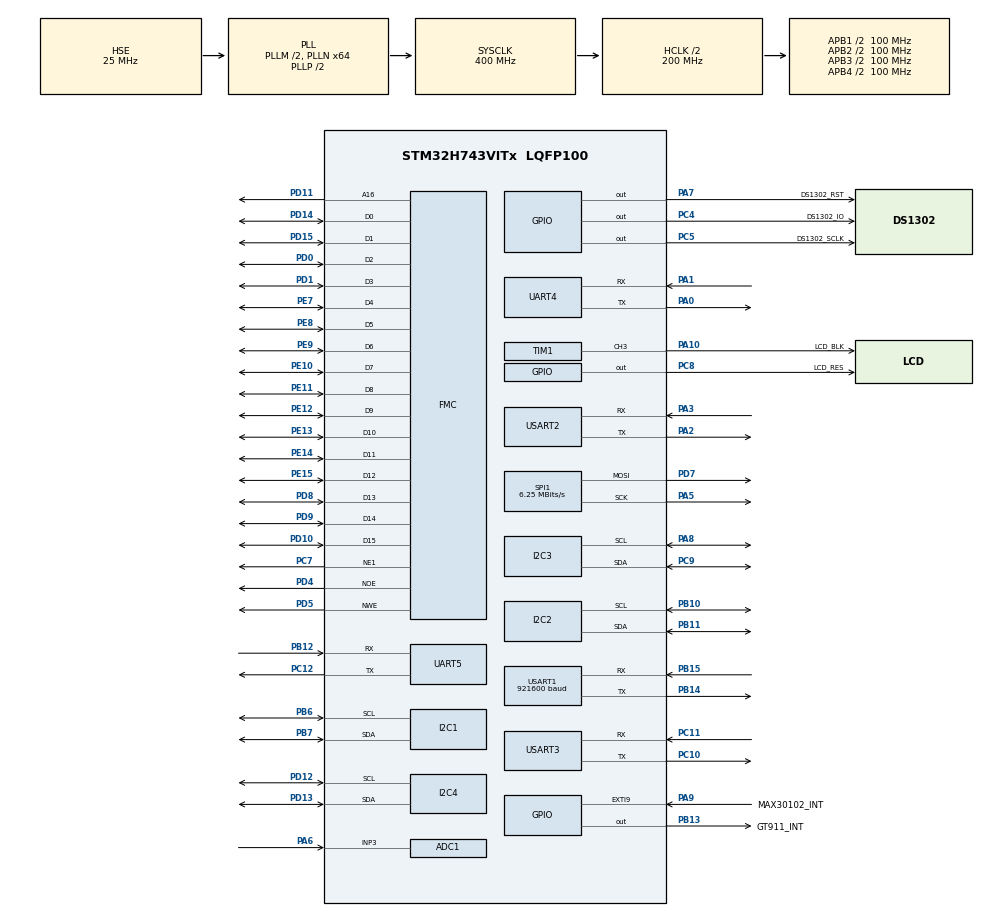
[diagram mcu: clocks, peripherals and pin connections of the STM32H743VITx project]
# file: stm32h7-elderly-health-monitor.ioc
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ADC1.Channel-0\#ChannelRegularConversion=ADC_CHANNEL_3
ADC1.ExternalTrigConv=ADC_EXTERNALTRIG_T2_TRGO
ADC1.NbrOfConversionFlag=1
ADC1.OffsetNumber-0\#ChannelRegularConversion=ADC_OFFSET_NONE
ADC1.OffsetSignedSaturation-0\#ChannelRegularConversion=DISABLE
ADC1.Rank-0\#ChannelRegularConversion=1
ADC1.SamplingTime-0\#ChannelRegularConversion=ADC_SAMPLETIME_1CYCLE_5
ADC1.master=1
CORTEX_M7.AccessPermission_Spec=MPU_REGION_FULL_ACCESS
CORTEX_M7.BaseAddress_Spec=0x60000000
CORTEX_M7.CPU_DCache=Enabled
CORTEX_M7.CPU_ICache=Enabled
CORTEX_M7.DisableExec_Spec=MPU_INSTRUCTION_ACCESS_ENABLE
CORTEX_M7.IsBufferable_Spec=MPU_ACCESS_BUFFERABLE
CORTEX_M7.IsCacheable_Spec=MPU_ACCESS_NOT_CACHEABLE
CORTEX_M7.IsShareable_Spec=MPU_ACCESS_NOT_SHAREABLE
CORTEX_M7.Size_Spec=MPU_REGION_SIZE_256MB
CORTEX_M7.SubRegionDisable_Spec=0x0
CORTEX_M7.TypeExtField_Spec=MPU_TEX_LEVEL0
CORTEX_M7.default_mode_Activation=1
Dma.Request0=SPI1_TX
Dma.SPI1_TX.0.Direction=DMA_MEMORY_TO_PERIPH
Dma.SPI1_TX.0.EventEnable=DISABLE
Dma.SPI1_TX.0.FIFOMode=DMA_FIFOMODE_DISABLE
Dma.SPI1_TX.0.Instance=DMA1_Stream0
Dma.SPI1_TX.0.MemDataAlignment=DMA_MDATAALIGN_BYTE
Dma.SPI1_TX.0.MemInc=DMA_MINC_ENABLE
Dma.SPI1_TX.0.Mode=DMA_NORMAL
Dma.SPI1_TX.0.PeriphDataAlignment=DMA_PDATAALIGN_BYTE
Dma.SPI1_TX.0.PeriphInc=DMA_PINC_DISABLE
Dma.SPI1_TX.0.Polarity=HAL_DMAMUX_REQ_GEN_RISING
Dma.SPI1_TX.0.Priority=DMA_PRIORITY_LOW
Dma.SPI1_TX.0.RequestNumber=1
Dma.SPI1_TX.0.SignalID=NONE
Dma.SPI1_TX.0.SyncEnable=DISABLE
Dma.SPI1_TX.0.SyncPolarity=HAL_DMAMUX_SYNC_NO_EVENT
Dma.SPI1_TX.0.SyncRequestNumber=1
Dma.SPI1_TX.0.SyncSignalID=NONE
FMC.AddressSetupTime1=10
FMC.BusTurnAroundDuration1=5
FMC.DataSetupTime1=15
FMC.ExtendedAddressSetupTime1=2
FMC.ExtendedBusTurnAroundDuration1=0
FMC.ExtendedDataSetupTime1=10
FMC.ExtendedMode1=FMC_EXTENDED_MODE_ENABLE
I2C1.Timing=0x10C0ECFF
I2C2.Timing=0x10C0ECFF
I2C3.Timing=0x10C0ECFF
I2C4.Timing=0x10C0ECFF
Mcu.Family=STM32H7
Mcu.Name=STM32H743VITx
Mcu.Package=LQFP100
NVIC.ADC_IRQn=true\:6\:0\:true\:false\:true\:true\:true\:true
NVIC.DMA1_Stream0_IRQn=true\:0\:0\:false\:false\:true\:false\:true\:true
NVIC.EXTI9_5_IRQn=true\:6\:0\:true\:false\:true\:true\:true\:true
NVIC.PriorityGroup=NVIC_PRIORITYGROUP_4
NVIC.SPI1_IRQn=true\:0\:0\:false\:false\:true\:true\:true\:true
NVIC.TIM2_IRQn=true\:0\:0\:false\:false\:true\:true\:true\:true
NVIC.TIM6_DAC_IRQn=true\:15\:0\:true\:false\:true\:false\:true\:true
NVIC.TIM7_IRQn=true\:0\:0\:true\:false\:true\:true\:true\:true
NVIC.TimeBase=TIM6_DAC_IRQn
NVIC.TimeBaseIP=TIM6
NVIC.UART4_IRQn=true\:6\:0\:true\:false\:true\:true\:true\:true
NVIC.UART5_IRQn=true\:6\:0\:true\:false\:true\:true\:true\:true
NVIC.USART1_IRQn=true\:6\:0\:true\:false\:true\:true\:true\:true
NVIC.USART2_IRQn=true\:0\:0\:false\:false\:true\:true\:true\:true
PA0.Mode=Asynchronous
PA0.Signal=UART4_TX
PA1.Mode=Asynchronous
PA1.Signal=UART4_RX
PA10.GPIO_Label=LCD_BLK
PA10.Signal=S_TIM1_CH3
PA13\ (JTMS/SWDIO).Mode=Serial_Wire
PA13\ (JTMS/SWDIO).Signal=DEBUG_JTMS-SWDIO
PA14\ (JTCK/SWCLK).Mode=Serial_Wire
PA14\ (JTCK/SWCLK).Signal=DEBUG_JTCK-SWCLK
PA2.Mode=Asynchronous
PA2.Signal=USART2_TX
PA3.Mode=Asynchronous
PA3.Signal=USART2_RX
PA5.Mode=TX_Only_Simplex_Unidirect_Master
PA5.Signal=SPI1_SCK
PA6.Signal=ADCx_INP3
PA7.GPIO_Label=DS1302_RST
PA7.GPIO_Speed=GPIO_SPEED_FREQ_VERY_HIGH
PA7.PinState=GPIO_PIN_SET
PA7.Signal=GPIO_Output
PA8.Mode=I2C
PA8.Signal=I2C3_SCL
PA9.GPIO_Label=MAX30102_INT
PA9.GPIO_ModeDefaultEXTI=GPIO_MODE_IT_FALLING
PA9.GPIO_PuPd=GPIO_PULLUP
PA9.Signal=GPXTI9
PB10.Mode=I2C
PB10.Signal=I2C2_SCL
PB11.Mode=I2C
PB11.Signal=I2C2_SDA
PB12.Mode=Asynchronous
PB12.Signal=UART5_RX
PB13.GPIO_Label=GT911_INT
PB13.GPIO_PuPd=GPIO_PULLUP
PB13.GPIO_Speed=GPIO_SPEED_FREQ_VERY_HIGH
PB13.PinState=GPIO_PIN_SET
PB13.Signal=GPIO_Output
PB14.GPIO_Speed=GPIO_SPEED_FREQ_VERY_HIGH
PB14.Mode=Asynchronous
PB14.Signal=USART1_TX
PB15.GPIO_Speed=GPIO_SPEED_FREQ_VERY_HIGH
PB15.Mode=Asynchronous
PB15.Signal=USART1_RX
PB6.GPIO_Speed=GPIO_SPEED_FREQ_VERY_HIGH
PB6.Mode=I2C
PB6.Signal=I2C1_SCL
PB7.GPIO_Speed=GPIO_SPEED_FREQ_VERY_HIGH
PB7.Mode=I2C
PB7.Signal=I2C1_SDA
PC10.Mode=Asynchronous
PC10.Signal=USART3_TX
PC11.Mode=Asynchronous
PC11.Signal=USART3_RX
PC12.Mode=Asynchronous
PC12.Signal=UART5_TX
PC14-OSC32_IN\ (OSC32_IN).Mode=LSE-External-Oscillator
PC14-OSC32_IN\ (OSC32_IN).Signal=RCC_OSC32_IN
PC15-OSC32_OUT\ (OSC32_OUT).Mode=LSE-External-Oscillator
PC15-OSC32_OUT\ (OSC32_OUT).Signal=RCC_OSC32_OUT
PC4.GPIO_Label=DS1302_IO
PC4.GPIO_Speed=GPIO_SPEED_FREQ_VERY_HIGH
PC4.PinState=GPIO_PIN_SET
PC4.Signal=GPIO_Output
PC5.GPIO_Label=DS1302_SCLK
PC5.GPIO_Speed=GPIO_SPEED_FREQ_VERY_HIGH
PC5.PinState=GPIO_PIN_SET
PC5.Signal=GPIO_Output
PC7.GPIO_Speed_High_Default=GPIO_SPEED_FREQ_VERY_HIGH
PC7.Mode=NorPsramChipSelect1_1
PC7.Signal=FMC_NE1
PC8.GPIO_Label=LCD_RES
PC8.GPIO_PuPd=GPIO_PULLUP
PC8.GPIO_Speed=GPIO_SPEED_FREQ_VERY_HIGH
PC8.PinState=GPIO_PIN_SET
PC8.Signal=GPIO_Output
PC9.Mode=I2C
PC9.Signal=I2C3_SDA
PD0.GPIO_Speed_High_Default=GPIO_SPEED_FREQ_VERY_HIGH
PD0.Signal=FMC_D2_DA2
PD1.GPIO_Speed_High_Default=GPIO_SPEED_FREQ_VERY_HIGH
PD1.Signal=FMC_D3_DA3
PD10.GPIO_Speed_High_Default=GPIO_SPEED_FREQ_VERY_HIGH
PD10.Signal=FMC_D15_DA15
PD11.GPIO_Speed_High_Default=GPIO_SPEED_FREQ_VERY_HIGH
PD11.Signal=FMC_A16_CLE
PD12.Mode=I2C
PD12.Signal=I2C4_SCL
PD13.Mode=I2C
PD13.Signal=I2C4_SDA
PD14.GPIO_Speed_High_Default=GPIO_SPEED_FREQ_VERY_HIGH
PD14.Signal=FMC_D0_DA0
PD15.GPIO_Speed_High_Default=GPIO_SPEED_FREQ_VERY_HIGH
PD15.Signal=FMC_D1_DA1
PD4.GPIO_Speed_High_Default=GPIO_SPEED_FREQ_VERY_HIGH
PD4.Signal=FMC_NOE
PD5.GPIO_Speed_High_Default=GPIO_SPEED_FREQ_VERY_HIGH
PD5.Signal=FMC_NWE
PD7.Mode=TX_Only_Simplex_Unidirect_Master
PD7.Signal=SPI1_MOSI
PD8.GPIO_Speed_High_Default=GPIO_SPEED_FREQ_VERY_HIGH
PD8.Signal=FMC_D13_DA13
PD9.GPIO_Speed_High_Default=GPIO_SPEED_FREQ_VERY_HIGH
PD9.Signal=FMC_D14_DA14
PE10.GPIO_Speed_High_Default=GPIO_SPEED_FREQ_VERY_HIGH
PE10.Signal=FMC_D7_DA7
PE11.GPIO_Speed_High_Default=GPIO_SPEED_FREQ_VERY_HIGH
PE11.Signal=FMC_D8_DA8
PE12.GPIO_Speed_High_Default=GPIO_SPEED_FREQ_VERY_HIGH
PE12.Signal=FMC_D9_DA9
PE13.GPIO_Speed_High_Default=GPIO_SPEED_FREQ_VERY_HIGH
PE13.Signal=FMC_D10_DA10
PE14.GPIO_Speed_High_Default=GPIO_SPEED_FREQ_VERY_HIGH
PE14.Signal=FMC_D11_DA11
PE15.GPIO_Speed_High_Default=GPIO_SPEED_FREQ_VERY_HIGH
PE15.Signal=FMC_D12_DA12
PE7.GPIO_Speed_High_Default=GPIO_SPEED_FREQ_VERY_HIGH
PE7.Signal=FMC_D4_DA4
PE8.GPIO_Speed_High_Default=GPIO_SPEED_FREQ_VERY_HIGH
PE8.Signal=FMC_D5_DA5
PE9.GPIO_Speed_High_Default=GPIO_SPEED_FREQ_VERY_HIGH
PE9.Signal=FMC_D6_DA6
PH0-OSC_IN\ (PH0).Mode=HSE-External-Oscillator
PH0-OSC_IN\ (PH0).Signal=RCC_OSC_IN
PH1-OSC_OUT\ (PH1).Mode=HSE-External-Oscillator
PH1-OSC_OUT\ (PH1).Signal=RCC_OSC_OUT
ProjectManager.HeapSize=0x2000
ProjectManager.StackSize=0x2000
ProjectManager.TargetToolchain=MDK-ARM V5.32
RCC.ADCFreq_Value=75000000
RCC.APB1Freq_Value=100000000
RCC.APB2Freq_Value=100000000
RCC.APB3Freq_Value=100000000
RCC.APB4Freq_Value=100000000
RCC.CortexFreq_Value=400000000
RCC.D1PPRE=RCC_APB3_DIV2
RCC.D2PPRE1=RCC_APB1_DIV2
RCC.D2PPRE2=RCC_APB2_DIV2
RCC.D3PPRE=RCC_APB4_DIV2
RCC.DIVM1=2
RCC.DIVM2=2
RCC.DIVN1=64
RCC.DIVN2=12
RCC.DIVQ1=4
RCC.HCLKFreq_Value=200000000
RCC.HPRE=RCC_HCLK_DIV2
RCC.PLL2FRACN=0
RCC.PLL3FRACN=0
RCC.PLLFRACN=0
RCC.PLLSourceVirtual=RCC_PLLSOURCE_HSE
RCC.SYSCLKFreq_VALUE=400000000
RCC.SYSCLKSource=RCC_SYSCLKSOURCE_PLLCLK
RCC.USBFreq_Value=200000000
SH.ADCx_INP3.0=ADC1_INP3,IN3-Single-Ended
SH.FMC_A16_CLE.0=FMC_A16,A16_1
SH.FMC_D0_DA0.0=FMC_D0,16b-d1
SH.FMC_D10_DA10.0=FMC_D10,16b-d1
SH.FMC_D11_DA11.0=FMC_D11,16b-d1
SH.FMC_D12_DA12.0=FMC_D12,16b-d1
SH.FMC_D13_DA13.0=FMC_D13,16b-d1
SH.FMC_D14_DA14.0=FMC_D14,16b-d1
SH.FMC_D15_DA15.0=FMC_D15,16b-d1
SH.FMC_D1_DA1.0=FMC_D1,16b-d1
SH.FMC_D2_DA2.0=FMC_D2,16b-d1
SH.FMC_D3_DA3.0=FMC_D3,16b-d1
SH.FMC_D4_DA4.0=FMC_D4,16b-d1
SH.FMC_D5_DA5.0=FMC_D5,16b-d1
SH.FMC_D6_DA6.0=FMC_D6,16b-d1
SH.FMC_D7_DA7.0=FMC_D7,16b-d1
SH.FMC_D8_DA8.0=FMC_D8,16b-d1
SH.FMC_D9_DA9.0=FMC_D9,16b-d1
SH.FMC_NOE.0=FMC_NOE,Lcd1
SH.FMC_NWE.0=FMC_NWE,Lcd1
SH.S_TIM1_CH3.0=TIM1_CH3,PWM Generation3 CH3
SPI1.BaudRatePrescaler=SPI_BAUDRATEPRESCALER_32
SPI1.CalculateBaudRate=6.25 MBits/s
SPI1.DataSize=SPI_DATASIZE_8BIT
SPI1.Direction=SPI_DIRECTION_2LINES_TXONLY
SPI1.Mode=SPI_MODE_MASTER
SPI1.VirtualType=VM_MASTER
TIM1.AutoReloadPreload=TIM_AUTORELOAD_PRELOAD_ENABLE
TIM1.Channel-PWM\ Generation3\ CH3=TIM_CHANNEL_3
TIM1.Period=999
TIM1.Prescaler=199
TIM1.Pulse-PWM\ Generation3\ CH3=500
TIM2.AutoReloadPreload=TIM_AUTORELOAD_PRELOAD_ENABLE
TIM2.Period=1000-1
TIM2.Prescaler=2000-1
TIM2.TIM_MasterOutputTrigger=TIM_TRGO_UPDATE
TIM7.AutoReloadPreload=TIM_AUTORELOAD_PRELOAD_ENABLE
TIM7.Period=50-1
TIM7.Prescaler=200-1
USART1.BaudRate=921600
USART1.VirtualMode-Asynchronous=VM_ASYNC
USART2.VirtualMode-Asynchronous=VM_ASYNC
USART3.VirtualMode-Asynchronous=VM_ASYNC
VP_MEMORYMAP_VS_MEMORYMAP.Mode=CurAppReg
VP_SYS_VS_tim6.Mode=TIM6
VP_TIM2_VS_ClockSourceINT.Mode=Internal
VP_TIM7_VS_ClockSourceINT.Mode=Enable_Timer
board=custom

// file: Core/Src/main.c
/* USER CODE BEGIN Header */
/**
 ******************************************************************************
 * @file           : main.c
 * @brief          : Main program body
 ******************************************************************************
 * @attention
 *
 * Copyright (c) 2026 STMicroelectronics.
 * All rights reserved.
 *
 * This software is licensed under terms that can be found in the LICENSE file
 * in the root directory of this software component.
 * If no LICENSE file comes with this software, it is provided AS-IS.
 *
 ******************************************************************************
 */
/* USER CODE END Header */
#include "main.h"
#include "adc.h"
#include "dma.h"
#include "i2c.h"
#include "spi.h"
#include "tim.h"
#include "usart.h"
#include "gpio.h"
#include "fmc.h"

/* USER CODE BEGIN Includes */
#include "FreeRTOS.h"
#include "task.h"
#include "semphr.h"
#include "portmacro.h"

#include "pal_log.h"
#include "pal_i2c_interface.h"

#include "bsp_dwt.h"
#include "bsp_delay.h"
#include "bsp_aht30.h"
#include "bsp_lcd.h"
#include "bsp_gt911.h"
#include "bsp_bh1750.h"
#include "bsp_esp8266.h"
#include "bsp_max30102.h"
#include "bsp_max30102_algorithm.h"
#include "bsp_at24cxx.h"
#include "bsp_mq5.h"
#include "bsp_ds1302.h"
#include "bsp_a7670c.h"
#include "bsp_uart_comm.h"

#include "app_main.h"
#include "app_config.h"
#include "app_max30102.h"

#include "ring_buffer.h"

/* USER CODE END Includes */

void SystemClock_Config(void);
static void MPU_Config(void);

/* USER CODE BEGIN 0 */
#if (APP_SYSTEM_MONITOR_ENABLE == 1)
extern volatile uint32_t ulHighFrequencyTimerTicks;
#endif
/* USER CODE END 0 */

int main(void)
{

  /* MPU Configuration--------------------------------------------------------*/
  MPU_Config();

  /* Enable the CPU Cache */

  /* Enable I-Cache---------------------------------------------------------*/
  SCB_EnableICache();

  /* Enable D-Cache---------------------------------------------------------*/
  SCB_EnableDCache();

  /* MCU Configuration--------------------------------------------------------*/

  /* Reset of all peripherals, Initializes the Flash interface and the Systick. */
  HAL_Init();

  /* Configure the system clock */
  SystemClock_Config();

  /* Initialize all configured peripherals */
  MX_GPIO_Init();
  MX_DMA_Init();
  MX_USART1_UART_Init();
  MX_I2C1_Init();
  MX_FMC_Init();
  MX_TIM7_Init();
  MX_I2C2_Init();
  MX_USART2_UART_Init();
  MX_I2C3_Init();
  MX_I2C4_Init();
  MX_TIM1_Init();
  MX_ADC1_Init();
  MX_TIM2_Init();
  MX_USART3_UART_Init();
  MX_UART4_Init();
  MX_UART5_Init();
  MX_SPI1_Init();
  /* USER CODE BEGIN 2 */

  HAL_TIM_Base_Start_IT(&htim7);
  HAL_TIM_PWM_Start(&htim1, TIM_CHANNEL_3);    /* 启动 TIM3 通道 1 的 PWM */
  HAL_UART_Receive_IT(&huart2, &g_rx_byte, 1); /* 启动 UART2 接收中断 */

  /* MQ-5 使用的外设 */
  HAL_TIM_Base_Start(&htim2); /* 启动定时器，用于触发 ADC 采集 */
  HAL_ADC_Start_IT(&hadc1);   /* 启动ADC中断模式，配置了外部触发 */

  /* BSP 层模块初始化 */
  BSP_Delay_Init();

  BSP_UART_Init();

  /* APP 层模块初始化 */
  APP_Init();

  /* USER CODE END 2 */

  /* Infinite loop */
  while (1)
  {

  }
}

void SystemClock_Config(void)
{
  RCC_OscInitTypeDef RCC_OscInitStruct = {0};
  RCC_ClkInitTypeDef RCC_ClkInitStruct = {0};

  /** Supply configuration update enable
  */
  HAL_PWREx_ConfigSupply(PWR_LDO_SUPPLY);

  /** Configure the main internal regulator output voltage
  */
  __HAL_PWR_VOLTAGESCALING_CONFIG(PWR_REGULATOR_VOLTAGE_SCALE1);

  while(!__HAL_PWR_GET_FLAG(PWR_FLAG_VOSRDY)) {}

  /** Initializes the RCC Oscillators according to the specified parameters
  * in the RCC_OscInitTypeDef structure.
  */
  RCC_OscInitStruct.OscillatorType = RCC_OSCILLATORTYPE_HSE;
  RCC_OscInitStruct.HSEState = RCC_HSE_ON;
  RCC_OscInitStruct.PLL.PLLState = RCC_PLL_ON;
  RCC_OscInitStruct.PLL.PLLSource = RCC_PLLSOURCE_HSE;
  RCC_OscInitStruct.PLL.PLLM = 2;
  RCC_OscInitStruct.PLL.PLLN = 64;
  RCC_OscInitStruct.PLL.PLLP = 2;
  RCC_OscInitStruct.PLL.PLLQ = 4;
  RCC_OscInitStruct.PLL.PLLR = 2;
  RCC_OscInitStruct.PLL.PLLRGE = RCC_PLL1VCIRANGE_3;
  RCC_OscInitStruct.PLL.PLLVCOSEL = RCC_PLL1VCOWIDE;
  RCC_OscInitStruct.PLL.PLLFRACN = 0;
  if (HAL_RCC_OscConfig(&RCC_OscInitStruct) != HAL_OK)
  {
    Error_Handler();
  }

  /** Initializes the CPU, AHB and APB buses clocks
  */
  RCC_ClkInitStruct.ClockType = RCC_CLOCKTYPE_HCLK|RCC_CLOCKTYPE_SYSCLK
                              |RCC_CLOCKTYPE_PCLK1|RCC_CLOCKTYPE_PCLK2
                              |RCC_CLOCKTYPE_D3PCLK1|RCC_CLOCKTYPE_D1PCLK1;
  RCC_ClkInitStruct.SYSCLKSource = RCC_SYSCLKSOURCE_PLLCLK;
  RCC_ClkInitStruct.SYSCLKDivider = RCC_SYSCLK_DIV1;
  RCC_ClkInitStruct.AHBCLKDivider = RCC_HCLK_DIV2;
  RCC_ClkInitStruct.APB3CLKDivider = RCC_APB3_DIV2;
  RCC_ClkInitStruct.APB1CLKDivider = RCC_APB1_DIV2;
  RCC_ClkInitStruct.APB2CLKDivider = RCC_APB2_DIV2;
  RCC_ClkInitStruct.APB4CLKDivider = RCC_APB4_DIV2;

  if (HAL_RCC_ClockConfig(&RCC_ClkInitStruct, FLASH_LATENCY_2) != HAL_OK)
  {
    Error_Handler();
  }
}

/* USER CODE BEGIN 4 */

void HAL_UART_RxCpltCallback(UART_HandleTypeDef *huart)
{
  if (huart->Instance == USART2)
  {
    RingBuffer_Write(&g_uart_rx_fifo, g_rx_byte);

    // 重新开启中断接收，准备收下一个字节
    HAL_UART_Receive_IT(huart, &g_rx_byte, 1);
  }
}

/* 外部中断回调函数 */
void HAL_GPIO_EXTI_Callback(uint16_t GPIO_Pin)
{
  if (GPIO_Pin == MAX30102_INT_Pin)
  {
    BaseType_t xHigherPriorityTaskWoken = pdFALSE;
    /* 释放信号量，通知采集任务 */
    xSemaphoreGiveFromISR(xMax30102DataReadySem, &xHigherPriorityTaskWoken);
    /* 强制上下文切换 */
    portYIELD_FROM_ISR(xHigherPriorityTaskWoken);
  }
}

/* ADC 中断回调函数 */
void HAL_ADC_ConvCpltCallback(ADC_HandleTypeDef *hadc)
{
  if (hadc->Instance == ADC1)
  {
    uint16_t val = HAL_ADC_GetValue(hadc);
    BSP_MQ5_UpdateRaw(val); // 快速存入结构体
  }
}

/* USER CODE END 4 */

 /* MPU Configuration */

void MPU_Config(void)
{
  MPU_Region_InitTypeDef MPU_InitStruct = {0};

  /* Disables the MPU */
  HAL_MPU_Disable();

  /** Initializes and configures the Region and the memory to be protected
  */
  MPU_InitStruct.Enable = MPU_REGION_ENABLE;
  MPU_InitStruct.Number = MPU_REGION_NUMBER0;
  MPU_InitStruct.BaseAddress = 0x60000000;
  MPU_InitStruct.Size = MPU_REGION_SIZE_256MB;
  MPU_InitStruct.SubRegionDisable = 0x0;
  MPU_InitStruct.TypeExtField = MPU_TEX_LEVEL0;
  MPU_InitStruct.AccessPermission = MPU_REGION_FULL_ACCESS;
  MPU_InitStruct.DisableExec = MPU_INSTRUCTION_ACCESS_ENABLE;
  MPU_InitStruct.IsShareable = MPU_ACCESS_NOT_SHAREABLE;
  MPU_InitStruct.IsCacheable = MPU_ACCESS_NOT_CACHEABLE;
  MPU_InitStruct.IsBufferable = MPU_ACCESS_BUFFERABLE;

  HAL_MPU_ConfigRegion(&MPU_InitStruct);
  /* Enables the MPU */
  HAL_MPU_Enable(MPU_PRIVILEGED_DEFAULT);

}

void HAL_TIM_PeriodElapsedCallback(TIM_HandleTypeDef *htim)
{
  if (htim->Instance == TIM6)
  {
    HAL_IncTick();
  }
  /* USER CODE BEGIN Callback 1 */

  if (htim->Instance == TIM7)
  {
#if (APP_SYSTEM_MONITOR_ENABLE == 1)
    ulHighFrequencyTimerTicks++;
#endif
  }
  /* USER CODE END Callback 1 */
}

void Error_Handler(void)
{
  __disable_irq();
  while (1)
  {
  }
}
